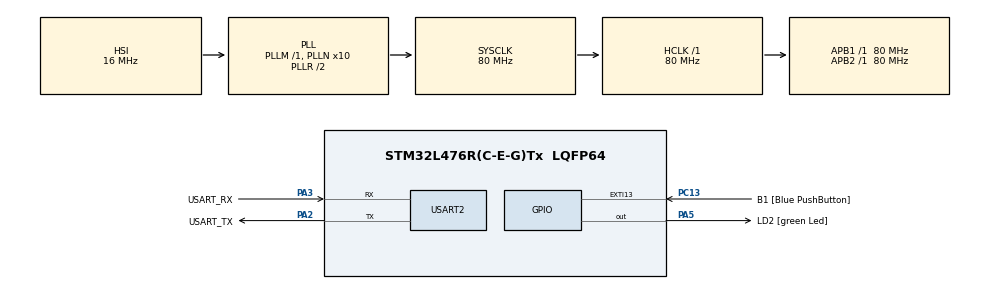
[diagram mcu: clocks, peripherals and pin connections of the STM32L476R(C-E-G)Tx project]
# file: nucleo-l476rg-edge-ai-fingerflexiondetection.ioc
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Dma.Request0=USART2_RX
Dma.USART2_RX.0.Direction=DMA_PERIPH_TO_MEMORY
Dma.USART2_RX.0.Instance=DMA1_Channel6
Dma.USART2_RX.0.MemDataAlignment=DMA_MDATAALIGN_BYTE
Dma.USART2_RX.0.MemInc=DMA_MINC_ENABLE
Dma.USART2_RX.0.Mode=DMA_NORMAL
Dma.USART2_RX.0.PeriphDataAlignment=DMA_PDATAALIGN_BYTE
Dma.USART2_RX.0.PeriphInc=DMA_PINC_DISABLE
Dma.USART2_RX.0.Priority=DMA_PRIORITY_LOW
Mcu.Family=STM32L4
Mcu.Name=STM32L476R(C-E-G)Tx
Mcu.Package=LQFP64
NVIC.DMA1_Channel6_IRQn=true\:0\:0\:false\:false\:true\:false\:true\:true
NVIC.PriorityGroup=NVIC_PRIORITYGROUP_4
NVIC.USART2_IRQn=true\:0\:0\:false\:false\:true\:true\:true\:true
PA13\ (JTMS-SWDIO).GPIO_Label=TMS
PA13\ (JTMS-SWDIO).Mode=Serial_Wire
PA13\ (JTMS-SWDIO).Signal=SYS_JTMS-SWDIO
PA14\ (JTCK-SWCLK).GPIO_Label=TCK
PA14\ (JTCK-SWCLK).Mode=Serial_Wire
PA14\ (JTCK-SWCLK).Signal=SYS_JTCK-SWCLK
PA2.GPIO_Label=USART_TX
PA2.GPIO_Mode=GPIO_MODE_AF_PP
PA2.GPIO_PuPd=GPIO_NOPULL
PA2.GPIO_Speed=GPIO_SPEED_FREQ_VERY_HIGH
PA2.Mode=Asynchronous
PA2.Signal=USART2_TX
PA3.GPIO_Label=USART_RX
PA3.GPIO_Mode=GPIO_MODE_AF_PP
PA3.GPIO_PuPd=GPIO_NOPULL
PA3.GPIO_Speed=GPIO_SPEED_FREQ_VERY_HIGH
PA3.Mode=Asynchronous
PA3.Signal=USART2_RX
PA5.GPIO_Label=LD2 [green Led]
PA5.GPIO_ModeDefaultOutputPP=GPIO_MODE_OUTPUT_PP
PA5.GPIO_PuPd=GPIO_NOPULL
PA5.GPIO_Speed=GPIO_SPEED_FREQ_LOW
PA5.Signal=GPIO_Output
PB3\ (JTDO-TRACESWO).GPIO_Label=SWO
PB3\ (JTDO-TRACESWO).Signal=SYS_JTDO-SWO
PC13.GPIO_Label=B1 [Blue PushButton]
PC13.GPIO_ModeDefaultEXTI=GPIO_MODE_IT_FALLING
PC13.GPIO_PuPd=GPIO_NOPULL
PC13.Signal=GPXTI13
PC14-OSC32_IN\ (PC14).Mode=LSE-External-Oscillator
PC14-OSC32_IN\ (PC14).Signal=RCC_OSC32_IN
PC15-OSC32_OUT\ (PC15).Mode=LSE-External-Oscillator
PC15-OSC32_OUT\ (PC15).Signal=RCC_OSC32_OUT
PH0-OSC_IN\ (PH0).Signal=RCC_OSC_IN
PH1-OSC_OUT\ (PH1).Signal=RCC_OSC_OUT
ProjectManager.HeapSize=0x800
ProjectManager.StackSize=0x800
ProjectManager.TargetToolchain=STM32CubeIDE
RCC.ADCFreq_Value=64000000
RCC.AHBFreq_Value=80000000
RCC.APB1Freq_Value=80000000
RCC.APB1TimFreq_Value=80000000
RCC.APB2Freq_Value=80000000
RCC.APB2TimFreq_Value=80000000
RCC.CortexFreq_Value=80000000
RCC.HCLKFreq_Value=80000000
RCC.HSE_VALUE=8000000
RCC.HSI_VALUE=16000000
RCC.MSI_VALUE=4000000
RCC.PLLN=10
RCC.PLLSourceVirtual=RCC_PLLSOURCE_HSI
RCC.PREFETCH_ENABLE=1
RCC.SYSCLKFreq_VALUE=80000000
RCC.SYSCLKSource=RCC_SYSCLKSOURCE_PLLCLK
RCC.USBFreq_Value=64000000
RCC.VCOOutputFreq_Value=160000000
STMicroelectronics.X-CUBE-AI.10.1.0.ActivationBufferSizeList=6652,6652,6652,6652,6652
STMicroelectronics.X-CUBE-AI.10.1.0.ActivationBuffers=pool0;pool0;pool0;pool0;pool0
STMicroelectronics.X-CUBE-AI.10.1.0.ActivationNames=pool0
STMicroelectronics.X-CUBE-AI.10.1.0.ActivationSizes=AI_MODEL_S2F1_DATA_ACTIVATION_1_SIZE
STMicroelectronics.X-CUBE-AI.10.1.0.HeapSize=0x800
STMicroelectronics.X-CUBE-AI.10.1.0.InternalRamActivationBufferMaxSize=AI_MODEL_S2F1_DATA_ACTIVATIONS_SIZE
STMicroelectronics.X-CUBE-AI.10.1.0.LatestDirectoryUsed-06843b650d80440f809eeb355fcc24ac81cf3337542a6df80166bb9550bdd930=C\:\\Users\\david\\Documents\\Edging\\Repo\\EdgeAI4BionicControl\\Dataset_and_Models\\models\\tflite
STMicroelectronics.X-CUBE-AI.10.1.0.LatestDirectoryUsed-64492a1f35101d6bec6d2c0363eff1dec01784bfa776d942e7336ac512b757dd=C\:\\Users\\david\\Documents\\Edging\\Repo\\EdgeAI4BionicControl\\Dataset_and_Models\\models\\tflite
STMicroelectronics.X-CUBE-AI.10.1.0.LatestDirectoryUsed-6df79e0265958d8dbdb43432f55e22fc44924b7ebf8d9e25c045c225322e96d8=C\:\\Users\\david\\Documents\\Edging\\Repo\\EdgeAI4BionicControl\\Dataset_and_Models\\models\\tflite
STMicroelectronics.X-CUBE-AI.10.1.0.LatestDirectoryUsed-78299c5ef01d2b61720f8f8bada1a9bf937ef636c7588987b4498ac1ed83829f=C\:\\Users\\david\\Documents\\Edging\\Repo\\EdgeAI4BionicControl\\Dataset_and_Models\\models\\tflite
STMicroelectronics.X-CUBE-AI.10.1.0.LatestDirectoryUsed-7eac4c03132fdc1705af695b6c1fb1eb2dd8f1c0785c84732d75b065108a31e7=C\:\\Users\\david\\Documents\\Edging\\Repo\\EdgeAI4BionicControl\\Dataset_and_Models\\models\\tflite
STMicroelectronics.X-CUBE-AI.10.1.0.LatestDirectoryUsed-d480b782bc64f994bd5af0ff8bee79f27f022d8f3d3e9912e97fe738614f49db=C\:\\Users\\david\\Documents\\Edging\\Repo\\EdgeAI4BionicControl\\Dataset_and_Models\\models\\tflite
STMicroelectronics.X-CUBE-AI.10.1.0.MaximumNumberOfInputLayer=1
STMicroelectronics.X-CUBE-AI.10.1.0.MaximumNumberOfOutputLayer=1
STMicroelectronics.X-CUBE-AI.10.1.0.MaximumSizeOfInputLayer=1
STMicroelectronics.X-CUBE-AI.10.1.0.MaximumSizeOfOutputLayer=1
STMicroelectronics.X-CUBE-AI.10.1.0.ModelActualCompression-06843b650d80440f809eeb355fcc24ac81cf3337542a6df80166bb9550bdd930=0.0
STMicroelectronics.X-CUBE-AI.10.1.0.ModelActualCompression-64492a1f35101d6bec6d2c0363eff1dec01784bfa776d942e7336ac512b757dd=0.0
STMicroelectronics.X-CUBE-AI.10.1.0.ModelActualCompression-6df79e0265958d8dbdb43432f55e22fc44924b7ebf8d9e25c045c225322e96d8=0.0
STMicroelectronics.X-CUBE-AI.10.1.0.ModelActualCompression-78299c5ef01d2b61720f8f8bada1a9bf937ef636c7588987b4498ac1ed83829f=0.0
STMicroelectronics.X-CUBE-AI.10.1.0.ModelActualCompression-7eac4c03132fdc1705af695b6c1fb1eb2dd8f1c0785c84732d75b065108a31e7=0.0
STMicroelectronics.X-CUBE-AI.10.1.0.ModelActualCompression-d480b782bc64f994bd5af0ff8bee79f27f022d8f3d3e9912e97fe738614f49db=0.0
STMicroelectronics.X-CUBE-AI.10.1.0.ModelCompression-06843b650d80440f809eeb355fcc24ac81cf3337542a6df80166bb9550bdd930=None
STMicroelectronics.X-CUBE-AI.10.1.0.ModelCompression-64492a1f35101d6bec6d2c0363eff1dec01784bfa776d942e7336ac512b757dd=None
STMicroelectronics.X-CUBE-AI.10.1.0.ModelCompression-6df79e0265958d8dbdb43432f55e22fc44924b7ebf8d9e25c045c225322e96d8=None
STMicroelectronics.X-CUBE-AI.10.1.0.ModelCompression-78299c5ef01d2b61720f8f8bada1a9bf937ef636c7588987b4498ac1ed83829f=None
STMicroelectronics.X-CUBE-AI.10.1.0.ModelCompression-7eac4c03132fdc1705af695b6c1fb1eb2dd8f1c0785c84732d75b065108a31e7=None
STMicroelectronics.X-CUBE-AI.10.1.0.ModelCompression-d480b782bc64f994bd5af0ff8bee79f27f022d8f3d3e9912e97fe738614f49db=None
STMicroelectronics.X-CUBE-AI.10.1.0.ModelFlashOccupation-06843b650d80440f809eeb355fcc24ac81cf3337542a6df80166bb9550bdd930=175867
STMicroelectronics.X-CUBE-AI.10.1.0.ModelFlashOccupation-64492a1f35101d6bec6d2c0363eff1dec01784bfa776d942e7336ac512b757dd=175867
STMicroelectronics.X-CUBE-AI.10.1.0.ModelFlashOccupation-6df79e0265958d8dbdb43432f55e22fc44924b7ebf8d9e25c045c225322e96d8=175867
STMicroelectronics.X-CUBE-AI.10.1.0.ModelFlashOccupation-78299c5ef01d2b61720f8f8bada1a9bf937ef636c7588987b4498ac1ed83829f=175867
STMicroelectronics.X-CUBE-AI.10.1.0.ModelFlashOccupation-7eac4c03132fdc1705af695b6c1fb1eb2dd8f1c0785c84732d75b065108a31e7=175867
STMicroelectronics.X-CUBE-AI.10.1.0.ModelFlashOccupation-d480b782bc64f994bd5af0ff8bee79f27f022d8f3d3e9912e97fe738614f49db=175867
STMicroelectronics.X-CUBE-AI.10.1.0.ModelHashList=7eac4c03132fdc1705af695b6c1fb1eb2dd8f1c0785c84732d75b065108a31e7;78299c5ef01d2b61720f8f8bada1a9bf937ef636c7588987b4498ac1ed83829f;6df79e0265958d8dbdb43432f55e22fc44924b7ebf8d9e25c045c225322e96d8;06843b650d80440f809eeb355fcc24ac81cf3337542a6df80166bb9550bdd930;64492a1f35101d6bec6d2c0363eff1dec01784bfa776d942e7336ac512b757dd
STMicroelectronics.X-CUBE-AI.10.1.0.ModelKind-06843b650d80440f809eeb355fcc24ac81cf3337542a6df80166bb9550bdd930=TFLITE
STMicroelectronics.X-CUBE-AI.10.1.0.ModelKind-64492a1f35101d6bec6d2c0363eff1dec01784bfa776d942e7336ac512b757dd=TFLITE
STMicroelectronics.X-CUBE-AI.10.1.0.ModelKind-6df79e0265958d8dbdb43432f55e22fc44924b7ebf8d9e25c045c225322e96d8=TFLITE
STMicroelectronics.X-CUBE-AI.10.1.0.ModelKind-78299c5ef01d2b61720f8f8bada1a9bf937ef636c7588987b4498ac1ed83829f=TFLITE
STMicroelectronics.X-CUBE-AI.10.1.0.ModelKind-7eac4c03132fdc1705af695b6c1fb1eb2dd8f1c0785c84732d75b065108a31e7=TFLITE
STMicroelectronics.X-CUBE-AI.10.1.0.ModelKind-d480b782bc64f994bd5af0ff8bee79f27f022d8f3d3e9912e97fe738614f49db=TFLITE
STMicroelectronics.X-CUBE-AI.10.1.0.ModelMacc-06843b650d80440f809eeb355fcc24ac81cf3337542a6df80166bb9550bdd930=158341
STMicroelectronics.X-CUBE-AI.10.1.0.ModelMacc-64492a1f35101d6bec6d2c0363eff1dec01784bfa776d942e7336ac512b757dd=158341
STMicroelectronics.X-CUBE-AI.10.1.0.ModelMacc-6df79e0265958d8dbdb43432f55e22fc44924b7ebf8d9e25c045c225322e96d8=158341
STMicroelectronics.X-CUBE-AI.10.1.0.ModelMacc-78299c5ef01d2b61720f8f8bada1a9bf937ef636c7588987b4498ac1ed83829f=158341
STMicroelectronics.X-CUBE-AI.10.1.0.ModelMacc-7eac4c03132fdc1705af695b6c1fb1eb2dd8f1c0785c84732d75b065108a31e7=158341
STMicroelectronics.X-CUBE-AI.10.1.0.ModelMacc-d480b782bc64f994bd5af0ff8bee79f27f022d8f3d3e9912e97fe738614f49db=158341
STMicroelectronics.X-CUBE-AI.10.1.0.ModelName-06843b650d80440f809eeb355fcc24ac81cf3337542a6df80166bb9550bdd930=model_s2f4
STMicroelectronics.X-CUBE-AI.10.1.0.ModelName-64492a1f35101d6bec6d2c0363eff1dec01784bfa776d942e7336ac512b757dd=model_s2f5
STMicroelectronics.X-CUBE-AI.10.1.0.ModelName-6df79e0265958d8dbdb43432f55e22fc44924b7ebf8d9e25c045c225322e96d8=model_s2f3
STMicroelectronics.X-CUBE-AI.10.1.0.ModelName-78299c5ef01d2b61720f8f8bada1a9bf937ef636c7588987b4498ac1ed83829f=model_s2f2
STMicroelectronics.X-CUBE-AI.10.1.0.ModelName-7eac4c03132fdc1705af695b6c1fb1eb2dd8f1c0785c84732d75b065108a31e7=model_s2f1
STMicroelectronics.X-CUBE-AI.10.1.0.ModelName-d480b782bc64f994bd5af0ff8bee79f27f022d8f3d3e9912e97fe738614f49db=model_s2f5
STMicroelectronics.X-CUBE-AI.10.1.0.ModelNameList=model_s2f1,model_s2f2,model_s2f3,model_s2f4,model_s2f5
STMicroelectronics.X-CUBE-AI.10.1.0.ModelRamOccupation-06843b650d80440f809eeb355fcc24ac81cf3337542a6df80166bb9550bdd930=6652
STMicroelectronics.X-CUBE-AI.10.1.0.ModelRamOccupation-64492a1f35101d6bec6d2c0363eff1dec01784bfa776d942e7336ac512b757dd=6652
STMicroelectronics.X-CUBE-AI.10.1.0.ModelRamOccupation-6df79e0265958d8dbdb43432f55e22fc44924b7ebf8d9e25c045c225322e96d8=6652
STMicroelectronics.X-CUBE-AI.10.1.0.ModelRamOccupation-78299c5ef01d2b61720f8f8bada1a9bf937ef636c7588987b4498ac1ed83829f=6652
STMicroelectronics.X-CUBE-AI.10.1.0.ModelRamOccupation-7eac4c03132fdc1705af695b6c1fb1eb2dd8f1c0785c84732d75b065108a31e7=6652
STMicroelectronics.X-CUBE-AI.10.1.0.ModelRamOccupation-d480b782bc64f994bd5af0ff8bee79f27f022d8f3d3e9912e97fe738614f49db=6652
STMicroelectronics.X-CUBE-AI.10.1.0.ModelStructureFile-06843b650d80440f809eeb355fcc24ac81cf3337542a6df80166bb9550bdd930=C\:\\Users\\david\\Documents\\Edging\\Repo\\EdgeAI4BionicControl\\Dataset_and_Models\\models\\tflite\\model_s2f4_int8.tflite
STMicroelectronics.X-CUBE-AI.10.1.0.ModelStructureFile-64492a1f35101d6bec6d2c0363eff1dec01784bfa776d942e7336ac512b757dd=C\:\\Users\\david\\Documents\\Edging\\Repo\\EdgeAI4BionicControl\\Dataset_and_Models\\models\\tflite\\model_s2f5_int8.tflite
STMicroelectronics.X-CUBE-AI.10.1.0.ModelStructureFile-6df79e0265958d8dbdb43432f55e22fc44924b7ebf8d9e25c045c225322e96d8=C\:\\Users\\david\\Documents\\Edging\\Repo\\EdgeAI4BionicControl\\Dataset_and_Models\\models\\tflite\\model_s2f3_int8.tflite
STMicroelectronics.X-CUBE-AI.10.1.0.ModelStructureFile-78299c5ef01d2b61720f8f8bada1a9bf937ef636c7588987b4498ac1ed83829f=C\:\\Users\\david\\Documents\\Edging\\Repo\\EdgeAI4BionicControl\\Dataset_and_Models\\models\\tflite\\model_s2f2_int8.tflite
STMicroelectronics.X-CUBE-AI.10.1.0.ModelStructureFile-7eac4c03132fdc1705af695b6c1fb1eb2dd8f1c0785c84732d75b065108a31e7=C\:\\Users\\david\\Documents\\Edging\\Repo\\EdgeAI4BionicControl\\Dataset_and_Models\\models\\tflite\\model_s2f1_int8.tflite
STMicroelectronics.X-CUBE-AI.10.1.0.ModelStructureFile-d480b782bc64f994bd5af0ff8bee79f27f022d8f3d3e9912e97fe738614f49db=C\:\\Users\\david\\Documents\\Edging\\Repo\\EdgeAI4BionicControl\\Dataset_and_Models\\models\\tflite\\model_s2f5_int8.tflite
STMicroelectronics.X-CUBE-AI.10.1.0.ModelType-06843b650d80440f809eeb355fcc24ac81cf3337542a6df80166bb9550bdd930=STM32Cube.AI MCU runtime
STMicroelectronics.X-CUBE-AI.10.1.0.ModelType-64492a1f35101d6bec6d2c0363eff1dec01784bfa776d942e7336ac512b757dd=STM32Cube.AI MCU runtime
STMicroelectronics.X-CUBE-AI.10.1.0.ModelType-6df79e0265958d8dbdb43432f55e22fc44924b7ebf8d9e25c045c225322e96d8=STM32Cube.AI MCU runtime
STMicroelectronics.X-CUBE-AI.10.1.0.ModelType-78299c5ef01d2b61720f8f8bada1a9bf937ef636c7588987b4498ac1ed83829f=STM32Cube.AI MCU runtime
STMicroelectronics.X-CUBE-AI.10.1.0.ModelType-7eac4c03132fdc1705af695b6c1fb1eb2dd8f1c0785c84732d75b065108a31e7=STM32Cube.AI MCU runtime
STMicroelectronics.X-CUBE-AI.10.1.0.ModelType-d480b782bc64f994bd5af0ff8bee79f27f022d8f3d3e9912e97fe738614f49db=STM32Cube.AI MCU runtime
STMicroelectronics.X-CUBE-AI.10.1.0.ReadyForCodeGeneration=true
STMicroelectronics.X-CUBE-AI.10.1.0.StackSize=0x800
STMicroelectronics.X-CUBE-AI.10.1.0.WorkingBufferStartAddrList=0xFFFFFFFF,0xFFFFFFFF,0xFFFFFFFF,0xFFFFFFFF,0xFFFFFFFF
STMicroelectronics.X-CUBE-AI.10.1.0.XAaCUBEAaAICcArtificialOoIntelligenceJjCore=true
STMicroelectronics.X-CUBE-AI.10.1.0.copyWeightToRam=false
STMicroelectronics.X-CUBE-AI.10.1.0.copyWeightToRam-d480b782bc64f994bd5af0ff8bee79f27f022d8f3d3e9912e97fe738614f49db=false
STMicroelectronics.X-CUBE-AI.10.1.0.customLayerConfigEnabled=false
STMicroelectronics.X-CUBE-AI.10.1.0.customLayerConfigEnabled-d480b782bc64f994bd5af0ff8bee79f27f022d8f3d3e9912e97fe738614f49db=false
STMicroelectronics.X-CUBE-AI.10.1.0.noOnnxIoTranspose=false
STMicroelectronics.X-CUBE-AI.10.1.0.noOnnxIoTranspose-d480b782bc64f994bd5af0ff8bee79f27f022d8f3d3e9912e97fe738614f49db=false
STMicroelectronics.X-CUBE-AI.10.1.0.useInputAllocation=true
STMicroelectronics.X-CUBE-AI.10.1.0.useInputAllocation-d480b782bc64f994bd5af0ff8bee79f27f022d8f3d3e9912e97fe738614f49db=true
STMicroelectronics.X-CUBE-AI.10.1.0.useOutputAllocation=true
STMicroelectronics.X-CUBE-AI.10.1.0.useOutputAllocation-d480b782bc64f994bd5af0ff8bee79f27f022d8f3d3e9912e97fe738614f49db=true
TIM16.Prescaler=80-1
USART2.VirtualMode-Asynchronous=VM_ASYNC
VP_CRC_VS_CRC.Mode=CRC_Activate
VP_STMicroelectronics.X-CUBE-AI_VS_ArtificialOoIntelligenceJjXAaCUBEAaAI_10.1.0.Mode=ArtificialOoIntelligenceJjXAaCUBEAaAI
VP_TIM16_VS_ClockSourceINT.Mode=Enable_Timer
board=NUCLEO-L476RG

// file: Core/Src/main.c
/* USER CODE BEGIN Header */
/**
  ******************************************************************************
  * @file           : main.c
  * @brief          : Main program body
  ******************************************************************************
  * @attention
  *
  * Copyright (c) 2025 STMicroelectronics.
  * All rights reserved.
  *
  * This software is licensed under terms that can be found in the LICENSE file
  * in the root directory of this software component.
  * If no LICENSE file comes with this software, it is provided AS-IS.
  *
  ******************************************************************************
  */
/* USER CODE END Header */
#include "main.h"

/* USER CODE BEGIN Includes */

#include <stdio.h>
#include <stdint.h>  // Para evitar advertencias de int8 o uint8
#include <string.h> // Para usar memcpy

#include "ai_datatypes_defines.h"
#include "ai_platform.h"
#include "model_s2f1.h"
#include "model_s2f1_data.h"
#include "model_s2f2.h"
#include "model_s2f2_data.h"
#include "model_s2f3.h"
#include "model_s2f3_data.h"
#include "model_s2f4.h"
#include "model_s2f4_data.h"
#include "model_s2f5.h"
#include "model_s2f5_data.h"

/* USER CODE END Includes */

/* USER CODE BEGIN PD */

#define VERBOSE 0   // Con VERBOSE 0 solo quedan mensajes de error y se entregan (IN, OUT)
//#define NUM_INPUTS 1153 // Cantidad de columnas en la matriz R. Por sujeto las opciones son: 1489/1153/1537
#define INPUT_BITS ( 4 * AI_MODEL_S2F1_IN_1_SIZE ) // Son float32 los datos de entrada
#define NUM_FINGERS 3 // Idealmente la idea es llegar a 5

/* USER CODE END PD */

CRC_HandleTypeDef hcrc;

TIM_HandleTypeDef htim16;

UART_HandleTypeDef huart2;
DMA_HandleTypeDef hdma_usart2_rx;

/* USER CODE BEGIN PV */

//uint8_t TxData[(4 * NUM_FINGERS)];
AI_ALIGNED(4) uint8_t RxData[(INPUT_BITS+4)]; // Alineado usando la macro de "ai_platform.h"
//int isSizeRxed = 0;

uint8_t RxSize[4];
uint32_t size = 0;

/* USER CODE END PV */

void SystemClock_Config(void);
static void MX_GPIO_Init(void);
static void MX_DMA_Init(void);
static void MX_USART2_UART_Init(void);
static void MX_TIM16_Init(void);
static void MX_CRC_Init(void);

/* USER CODE BEGIN 0 */

/*
void HAL_UART_RxCpltCallback(UART_HandleTypeDef *huart){

	if (isSizeRxed == 0){ // Si no he recibido el tamaño de los datos que recibiré
		// Los primeros 4 bytes que reciba serán el tamaño
		size = ((RxData[0]-48)*1000)+((RxData[1]-48)*100)+((RxData[2]-48)*10)+((RxData[3]-48));
		// Le resto 48 para pasar de ascii al número.
		isSizeRxed = 1;
		HAL_UART_Receive_DMA(&huart2, RxData,size);

	}
	else if (isSizeRxed == 1){
		isSizeRxed = 0;

		for (int i = 0; i < AI_MODEL_S2F1_IN_1_SIZE; ++i) {
		    memcpy(&in_data_s2f1[i], &RxData[i * 4], sizeof(float));
		}

		HAL_UART_Receive_DMA(&huart2, RxData,4);

	}

}
*/

/* USER CODE END 0 */

int main(void)
{

  /* USER CODE BEGIN 1 */

	char buf[128];
	int buf_len = 0;
	ai_error ai_err1;
	ai_error ai_err2;
	ai_error ai_err3;
	ai_error ai_err4;
	ai_error ai_err5;
	ai_i32 nbatch1;
	ai_i32 nbatch2;
	ai_i32 nbatch3;
	ai_i32 nbatch4;
	ai_i32 nbatch5;
	// uint32_t timestamp;
	float y_val_s2f1;
	float y_val_s2f2;
	float y_val_s2f3;
	float y_val_s2f4;
	float y_val_s2f5;

	// Espacio de memoria para guardar calculos intermedios (usando variables definidas por Cube.IA, no por mi)
	AI_ALIGNED(4) ai_u8 activations_s2f1[AI_MODEL_S2F1_DATA_ACTIVATIONS_SIZE];
	AI_ALIGNED(4) ai_u8 activations_s2f2[AI_MODEL_S2F2_DATA_ACTIVATIONS_SIZE];
	AI_ALIGNED(4) ai_u8 activations_s2f3[AI_MODEL_S2F3_DATA_ACTIVATIONS_SIZE];
	AI_ALIGNED(4) ai_u8 activations_s2f4[AI_MODEL_S2F4_DATA_ACTIVATIONS_SIZE];
	AI_ALIGNED(4) ai_u8 activations_s2f5[AI_MODEL_S2F5_DATA_ACTIVATIONS_SIZE];

	// Buffers para los tensores de entradas y salidas
	AI_ALIGNED(4) ai_float in_data_nn[AI_MODEL_S2F1_IN_1_SIZE]; // Esto espera 1153 flotantes de 32 bits
	AI_ALIGNED(4) ai_float out_data_s2f1[AI_MODEL_S2F1_IN_1_SIZE];
	AI_ALIGNED(4) ai_float out_data_s2f2[AI_MODEL_S2F2_IN_1_SIZE];
	AI_ALIGNED(4) ai_float out_data_s2f3[AI_MODEL_S2F3_IN_1_SIZE];
	AI_ALIGNED(4) ai_float out_data_s2f4[AI_MODEL_S2F4_IN_1_SIZE];
	AI_ALIGNED(4) ai_float out_data_s2f5[AI_MODEL_S2F5_IN_1_SIZE];

	ai_handle model_s2f1 = AI_HANDLE_NULL;
	ai_handle model_s2f2 = AI_HANDLE_NULL;
	ai_handle model_s2f3 = AI_HANDLE_NULL;
	ai_handle model_s2f4 = AI_HANDLE_NULL;
	ai_handle model_s2f5 = AI_HANDLE_NULL;

	// Para guardar punteros hacia los datos
	ai_buffer ai_input_s2f1[AI_MODEL_S2F1_IN_NUM];
	ai_buffer ai_output_s2f1[AI_MODEL_S2F1_OUT_NUM];

	ai_buffer ai_input_s2f2[AI_MODEL_S2F2_IN_NUM];
	ai_buffer ai_output_s2f2[AI_MODEL_S2F2_OUT_NUM];

	ai_buffer ai_input_s2f3[AI_MODEL_S2F3_IN_NUM];
	ai_buffer ai_output_s2f3[AI_MODEL_S2F3_OUT_NUM];

	ai_buffer ai_input_s2f4[AI_MODEL_S2F4_IN_NUM];
	ai_buffer ai_output_s2f4[AI_MODEL_S2F4_OUT_NUM];

	ai_buffer ai_input_s2f5[AI_MODEL_S2F5_IN_NUM];
	ai_buffer ai_output_s2f5[AI_MODEL_S2F5_OUT_NUM];

	// {N,H,W,C} : Num_Muestras, Altura, Ancho, Canales
	ai_shape_dimension input_shape_data[4] =  {1, AI_MODEL_S2F1_IN_1_SIZE, 1, 1};  	// 1 muestra de algo de 1153x1, de 1 canal
	ai_shape_dimension output_shape_data[4] = {1, 1, 1, 1};  		// 1 escalar (1 muestra de 1x1 de 1 canal)

	// Set working memory and get weights/bias from model
	ai_network_params ai_params_s2f1 = {
		.params = AI_MODEL_S2F1_DATA_WEIGHTS(ai_model_s2f1_data_weights_get()),  // En realidad esta forma de hacerlo está obsoleta
		.activations = AI_MODEL_S2F1_DATA_ACTIVATIONS(activations_s2f1),		 // deprecated
	};																			 // Luego revisaré cómo se hace actualmente
	ai_network_params ai_params_s2f2 = {
			.params = AI_MODEL_S2F2_DATA_WEIGHTS(ai_model_s2f2_data_weights_get()),  // En realidad esta forma de hacerlo está obsoleta
			.activations = AI_MODEL_S2F2_DATA_ACTIVATIONS(activations_s2f2),		 // deprecated
		};																			 // Luego revisaré cómo se hace actualmente
	ai_network_params ai_params_s2f3 = {
				.params = AI_MODEL_S2F3_DATA_WEIGHTS(ai_model_s2f3_data_weights_get()),  // En realidad esta forma de hacerlo está obsoleta
				.activations = AI_MODEL_S2F3_DATA_ACTIVATIONS(activations_s2f3),		 // deprecated
			};																			 // Luego revisaré cómo se hace actualmente

	ai_network_params ai_params_s2f4 = {
					.params = AI_MODEL_S2F4_DATA_WEIGHTS(ai_model_s2f4_data_weights_get()),  // En realidad esta forma de hacerlo está obsoleta
					.activations = AI_MODEL_S2F4_DATA_ACTIVATIONS(activations_s2f4),		 // deprecated
				};

	ai_network_params ai_params_s2f5 = {
					.params = AI_MODEL_S2F5_DATA_WEIGHTS(ai_model_s2f5_data_weights_get()),  // En realidad esta forma de hacerlo está obsoleta
					.activations = AI_MODEL_S2F5_DATA_ACTIVATIONS(activations_s2f5),		 // deprecated
				};

	// Pointer wrapper structs to data buffers
	// S2F1
	ai_input_s2f1[0].data = AI_HANDLE_PTR(in_data_nn);
	ai_input_s2f1[0].shape.size = 4;
	ai_input_s2f1[0].shape.data = input_shape_data;
	ai_input_s2f1[0].format = AI_BUFFER_FORMAT_FLOAT;

	ai_output_s2f1[0].data = AI_HANDLE_PTR(out_data_s2f1);
	ai_output_s2f1[0].shape.size = 4;
	ai_output_s2f1[0].shape.data = output_shape_data;
	ai_output_s2f1[0].format = AI_BUFFER_FORMAT_FLOAT;

	// S2F2
	ai_input_s2f2[0].data = AI_HANDLE_PTR(in_data_nn);
	ai_input_s2f2[0].shape.size = 4;
	ai_input_s2f2[0].shape.data = input_shape_data;
	ai_input_s2f2[0].format = AI_BUFFER_FORMAT_FLOAT;

	ai_output_s2f2[0].data = AI_HANDLE_PTR(out_data_s2f2);
	ai_output_s2f2[0].shape.size = 4;
	ai_output_s2f2[0].shape.data = output_shape_data;
	ai_output_s2f2[0].format = AI_BUFFER_FORMAT_FLOAT;

	// S2F3
	ai_input_s2f3[0].data = AI_HANDLE_PTR(in_data_nn);
	ai_input_s2f3[0].shape.size = 4;
	ai_input_s2f3[0].shape.data = input_shape_data;
	ai_input_s2f3[0].format = AI_BUFFER_FORMAT_FLOAT;

	ai_output_s2f3[0].data = AI_HANDLE_PTR(out_data_s2f3);
	ai_output_s2f3[0].shape.size = 4;
	ai_output_s2f3[0].shape.data = output_shape_data;
	ai_output_s2f3[0].format = AI_BUFFER_FORMAT_FLOAT;

	// S2F4
	ai_input_s2f4[0].data = AI_HANDLE_PTR(in_data_nn);
	ai_input_s2f4[0].shape.size = 4;
	ai_input_s2f4[0].shape.data = input_shape_data;
	ai_input_s2f4[0].format = AI_BUFFER_FORMAT_FLOAT;

	ai_output_s2f4[0].data = AI_HANDLE_PTR(out_data_s2f4);
	ai_output_s2f4[0].shape.size = 4;
	ai_output_s2f4[0].shape.data = output_shape_data;
	ai_output_s2f4[0].format = AI_BUFFER_FORMAT_FLOAT;

	// S2F5
	ai_input_s2f5[0].data = AI_HANDLE_PTR(in_data_nn);
	ai_input_s2f5[0].shape.size = 4;
	ai_input_s2f5[0].shape.data = input_shape_data;
	ai_input_s2f5[0].format = AI_BUFFER_FORMAT_FLOAT;

	ai_output_s2f5[0].data = AI_HANDLE_PTR(out_data_s2f5);
	ai_output_s2f5[0].shape.size = 4;
	ai_output_s2f5[0].shape.data = output_shape_data;
	ai_output_s2f5[0].format = AI_BUFFER_FORMAT_FLOAT;

  /* USER CODE END 1 */

  /* MCU Configuration--------------------------------------------------------*/

  /* Reset of all peripherals, Initializes the Flash interface and the Systick. */
  HAL_Init();

  /* Configure the system clock */
  SystemClock_Config();

  /* Initialize all configured peripherals */
  MX_GPIO_Init();
  MX_DMA_Init();
  MX_USART2_UART_Init();
  MX_TIM16_Init();
  MX_CRC_Init();
  /* USER CODE BEGIN 2 */

  // Start timer/counter
  HAL_TIM_Base_Start(&htim16);
  //if (VERBOSE){
	  // Saludo
	  buf_len = sprintf(buf, "\r\n\r\nSTM32 X-Cube-AI 2 Finger Test\r\n");
	  HAL_UART_Transmit(&huart2, (uint8_t * )buf, buf_len, 100);
//  }

  // Crear las redes

  // S2f1
  ai_err1 = ai_model_s2f1_create(&model_s2f1, AI_MODEL_S2F1_DATA_CONFIG);
  if (ai_err1.type != AI_ERROR_NONE)
  {
	  buf_len = sprintf(buf, "Error: could not create s2f1 NN instance\r\n");
	  HAL_UART_Transmit(&huart2, (uint8_t *)buf, buf_len, 100);
	  while(1);
  }

  // S2f2
  ai_err2 = ai_model_s2f2_create(&model_s2f2, AI_MODEL_S2F2_DATA_CONFIG);
  if (ai_err2.type != AI_ERROR_NONE)
  {
	  buf_len = sprintf(buf, "Error: could not create s2f2 NN instance\r\n");
	  HAL_UART_Transmit(&huart2, (uint8_t *)buf, buf_len, 100);
	  while(1);
  }

  // S2F3
  ai_err3 = ai_model_s2f3_create(&model_s2f3, AI_MODEL_S2F3_DATA_CONFIG);
  if (ai_err3.type != AI_ERROR_NONE)
  {
	  buf_len = sprintf(buf, "Error: could not create s2f3 NN instance\r\n");
	  HAL_UART_Transmit(&huart2, (uint8_t *)buf, buf_len, 100);
	  while(1);
  }

  // S2F4
  ai_err4 = ai_model_s2f4_create(&model_s2f4, AI_MODEL_S2F4_DATA_CONFIG);
  if (ai_err4.type != AI_ERROR_NONE)
  {
	  buf_len = sprintf(buf, "Error: could not create s2f4 NN instance\r\n");
	  HAL_UART_Transmit(&huart2, (uint8_t *)buf, buf_len, 100);
	  while(1);
  }

  // S2F5
  ai_err5 = ai_model_s2f5_create(&model_s2f5, AI_MODEL_S2F5_DATA_CONFIG);
  if (ai_err5.type != AI_ERROR_NONE)
  {
	  buf_len = sprintf(buf, "Error: could not create s2f5 NN instance\r\n");
	  HAL_UART_Transmit(&huart2, (uint8_t *)buf, buf_len, 100);
	  while(1);
  }

  if (VERBOSE){
	  ai_network_report report;
	  // Revisando las dimensiones reales de entrada y salida (Es lo mismo para las 5 redes)
	  if (ai_model_s2f1_get_info(model_s2f1, &report)){
		  printf("Input shape (dims=%d): ", report.inputs->shape.size);
			  for (int i = 0; i < report.inputs->shape.size; ++i)
				  printf("%lu ", (unsigned long)report.inputs->shape.data[i]);
			  printf("\r\n");
		  printf("Output shape (dims=%d): ", report.outputs->shape.size);
			  for (int i = 0; i < report.outputs->shape.size; ++i)
				  printf("%lu ", (unsigned long)report.outputs->shape.data[i]);
			  printf("\r\n");
	  }
  }

  // Inicializar las NN

  // S2F1
  if (!ai_model_s2f1_init(model_s2f1, &ai_params_s2f1))
  {
	  buf_len = sprintf(buf, "Error, could not initialize s2f1 NN\r\n");
	  HAL_UART_Transmit(&huart2, (uint8_t *)buf, buf_len, 100);
	  while(1);
  }

  // S2F2
  if (!ai_model_s2f2_init(model_s2f2, &ai_params_s2f2))
  {
	  buf_len = sprintf(buf, "Error, could not initialize s2f2 NN\r\n");
	  HAL_UART_Transmit(&huart2, (uint8_t *)buf, buf_len, 100);
	  while(1);
  }

  // S2F3
  if (!ai_model_s2f3_init(model_s2f3, &ai_params_s2f3))
  {
	  buf_len = sprintf(buf, "Error, could not initialize s2f3 NN\r\n");
	  HAL_UART_Transmit(&huart2, (uint8_t *)buf, buf_len, 100);
	  while(1);
  }

  // S2F4
  if (!ai_model_s2f4_init(model_s2f4, &ai_params_s2f4))
  {
	  buf_len = sprintf(buf, "Error, could not initialize s2f4 NN\r\n");
	  HAL_UART_Transmit(&huart2, (uint8_t *)buf, buf_len, 100);
	  while(1);
  }

  // S2F5
  if (!ai_model_s2f5_init(model_s2f5, &ai_params_s2f5))
  {
	  buf_len = sprintf(buf, "Error, could not initialize s2f5 NN\r\n");
	  HAL_UART_Transmit(&huart2, (uint8_t *)buf, buf_len, 100);
	  while(1);
  }

  //HAL_UART_Receive_DMA(&huart2, RxData,4); // La primera vez espero 4 bytes con el número de 4 dígitos que será el tamaño a recibir

  // Voy a leer 1 sola vez el tamaño y luego esperar que se mande esa cantidad de números varias veces.
  // Si se quiere cambiar el tamaño, habrá que reiniciar
  if (VERBOSE){
  	 	  // Esperando
  	 	  buf_len = sprintf(buf, "Introduzca 4 dígitos con la cantidad de bytes a enviar\r\n");
  	 	  HAL_UART_Transmit(&huart2, (uint8_t * )buf, buf_len, 100);
  	   }

  	  HAL_UART_Receive(&huart2,RxSize,4,HAL_MAX_DELAY);
  	  // Los primeros 4 bytes que reciba serán el tamaño
  	  size = ((RxSize[0]-48)*1000)+((RxSize[1]-48)*100)+((RxSize[2]-48)*10)+((RxSize[3]-48));
  	  // Le resto 48 para pasar de ascii al número.

  /* USER CODE END 2 */

  /* Infinite loop */
  /* USER CODE BEGIN WHILE */
  while (1)
  {

	  // timestamp inicio
	  //timestamp = htim16.Instance->CNT;

	  if (VERBOSE){
		  buf_len = sprintf(buf, "Esperando a recibir un grupo de %ld bytes\r\n", size);
		  HAL_UART_Transmit(&huart2, (uint8_t *)buf, buf_len, 100);
	  }

	  HAL_UART_Receive(&huart2, RxData,size,HAL_MAX_DELAY);

	  memcpy(in_data_nn, RxData, sizeof(float) * AI_MODEL_S2F1_IN_1_SIZE);

	  if (VERBOSE){
		  for (int i = 0; i < AI_MODEL_S2F1_IN_1_SIZE; ++i) {
		    buf_len = sprintf(buf, "in_data_nn[%d] = %.5f \r\n",i,in_data_nn[i]);
			HAL_UART_Transmit(&huart2, (uint8_t *)buf, buf_len, 100);
		}
	  }
	  if (VERBOSE){
		  buf_len = sprintf(buf, "Ya se convirtieron a flotantes\r\n");
		  HAL_UART_Transmit(&huart2, (uint8_t *)buf, buf_len, 100);
	  }

	  // Realizar inferencia

	  // S2F1
	  nbatch1 = ai_model_s2f1_run(model_s2f1, &ai_input_s2f1[0], &ai_output_s2f1[0]);
	  if (nbatch1 != 1)
	    {
	  	  buf_len = sprintf(buf, "Error, could not run inference in s2f1 NN\r\n");
	  	  HAL_UART_Transmit(&huart2, (uint8_t *)buf, buf_len, 100);
	  	  while(1);
	    }

	  // S2F2
	  nbatch2 = ai_model_s2f2_run(model_s2f2, &ai_input_s2f2[0], &ai_output_s2f2[0]);
	  	  if (nbatch2 != 1)
	  	    {
	  	  	  buf_len = sprintf(buf, "Error, could not run inference in s2f2 NN\r\n");
	  	  	  HAL_UART_Transmit(&huart2, (uint8_t *)buf, buf_len, 100);
	  	  	  while(1);
	  	    }

	  // S2F3
	  nbatch3 = ai_model_s2f3_run(model_s2f3, &ai_input_s2f3[0], &ai_output_s2f3[0]);
		  if (nbatch3 != 1)
			{
			  buf_len = sprintf(buf, "Error, could not run inference in s2f3 NN\r\n");
			  HAL_UART_Transmit(&huart2, (uint8_t *)buf, buf_len, 100);
			  while(1);
			}

	  // S2F4
	  nbatch4 = ai_model_s2f4_run(model_s2f4, &ai_input_s2f4[0], &ai_output_s2f4[0]);
		  if (nbatch4 != 1)
			{
			  buf_len = sprintf(buf, "Error, could not run inference in s2f4 NN\r\n");
			  HAL_UART_Transmit(&huart2, (uint8_t *)buf, buf_len, 100);
			  while(1);
			}

	  // S2F5
	  nbatch5 = ai_model_s2f5_run(model_s2f5, &ai_input_s2f5[0], &ai_output_s2f5[0]);
		  if (nbatch5 != 1)
			{
			  buf_len = sprintf(buf, "Error, could not run inference in s2f5 NN\r\n");
			  HAL_UART_Transmit(&huart2, (uint8_t *)buf, buf_len, 100);
			  while(1);
			}

	  //long unsigned int tim = htim16.Instance->CNT - timestamp;
	 // Lee la prediccion
	  y_val_s2f1 = out_data_s2f1[0];
	  y_val_s2f2 = out_data_s2f2[0];
	  y_val_s2f3 = out_data_s2f3[0];
	  y_val_s2f4 = out_data_s2f4[0];
	  y_val_s2f5 = out_data_s2f5[0];

	  if (VERBOSE){
		  buf_len = sprintf(buf, "y_s2f1 = %.3f ; y_s2f2 = %.3f ; y_s2f3 = %.3f ; y_s2f4 = %.3f ; y_s2f5 = %.3f \r\n", y_val_s2f1,y_val_s2f2, y_val_s2f3, y_val_s2f4, y_val_s2f5);
	  } else {
		  buf_len = sprintf(buf,"%.8f %.8f %.8f %.8f %.8f\r\n",y_val_s2f1, y_val_s2f2, y_val_s2f3, y_val_s2f4, y_val_s2f5);

	 }
	 HAL_UART_Transmit(&huart2, (uint8_t *)buf, buf_len, 100);

    /* USER CODE END WHILE */

    /* USER CODE BEGIN 3 */
	//  		  HAL_UART_Transmit(&huart2, TxData,10240, HAL_MAX_DELAY);

	 //HAL_Delay(500);

  }
  /* USER CODE END 3 */
}

void SystemClock_Config(void)
{
  RCC_OscInitTypeDef RCC_OscInitStruct = {0};
  RCC_ClkInitTypeDef RCC_ClkInitStruct = {0};

  /** Configure the main internal regulator output voltage
  */
  if (HAL_PWREx_ControlVoltageScaling(PWR_REGULATOR_VOLTAGE_SCALE1) != HAL_OK)
  {
    Error_Handler();
  }

  /** Initializes the RCC Oscillators according to the specified parameters
  * in the RCC_OscInitTypeDef structure.
  */
  RCC_OscInitStruct.OscillatorType = RCC_OSCILLATORTYPE_HSI;
  RCC_OscInitStruct.HSIState = RCC_HSI_ON;
  RCC_OscInitStruct.HSICalibrationValue = RCC_HSICALIBRATION_DEFAULT;
  RCC_OscInitStruct.PLL.PLLState = RCC_PLL_ON;
  RCC_OscInitStruct.PLL.PLLSource = RCC_PLLSOURCE_HSI;
  RCC_OscInitStruct.PLL.PLLM = 1;
  RCC_OscInitStruct.PLL.PLLN = 10;
  RCC_OscInitStruct.PLL.PLLP = RCC_PLLP_DIV7;
  RCC_OscInitStruct.PLL.PLLQ = RCC_PLLQ_DIV2;
  RCC_OscInitStruct.PLL.PLLR = RCC_PLLR_DIV2;
  if (HAL_RCC_OscConfig(&RCC_OscInitStruct) != HAL_OK)
  {
    Error_Handler();
  }

  /** Initializes the CPU, AHB and APB buses clocks
  */
  RCC_ClkInitStruct.ClockType = RCC_CLOCKTYPE_HCLK|RCC_CLOCKTYPE_SYSCLK
                              |RCC_CLOCKTYPE_PCLK1|RCC_CLOCKTYPE_PCLK2;
  RCC_ClkInitStruct.SYSCLKSource = RCC_SYSCLKSOURCE_PLLCLK;
  RCC_ClkInitStruct.AHBCLKDivider = RCC_SYSCLK_DIV1;
  RCC_ClkInitStruct.APB1CLKDivider = RCC_HCLK_DIV1;
  RCC_ClkInitStruct.APB2CLKDivider = RCC_HCLK_DIV1;

  if (HAL_RCC_ClockConfig(&RCC_ClkInitStruct, FLASH_LATENCY_4) != HAL_OK)
  {
    Error_Handler();
  }
}

static void MX_CRC_Init(void)
{

  hcrc.Instance = CRC;
  hcrc.Init.DefaultPolynomialUse = DEFAULT_POLYNOMIAL_ENABLE;
  hcrc.Init.DefaultInitValueUse = DEFAULT_INIT_VALUE_ENABLE;
  hcrc.Init.InputDataInversionMode = CRC_INPUTDATA_INVERSION_NONE;
  hcrc.Init.OutputDataInversionMode = CRC_OUTPUTDATA_INVERSION_DISABLE;
  hcrc.InputDataFormat = CRC_INPUTDATA_FORMAT_BYTES;
  if (HAL_CRC_Init(&hcrc) != HAL_OK)
  {
    Error_Handler();
  }

}

static void MX_TIM16_Init(void)
{

  htim16.Instance = TIM16;
  htim16.Init.Prescaler = 80-1;
  htim16.Init.CounterMode = TIM_COUNTERMODE_UP;
  htim16.Init.Period = 65535;
  htim16.Init.ClockDivision = TIM_CLOCKDIVISION_DIV1;
  htim16.Init.RepetitionCounter = 0;
  htim16.Init.AutoReloadPreload = TIM_AUTORELOAD_PRELOAD_DISABLE;
  if (HAL_TIM_Base_Init(&htim16) != HAL_OK)
  {
    Error_Handler();
  }

}

static void MX_USART2_UART_Init(void)
{

  huart2.Instance = USART2;
  huart2.Init.BaudRate = 115200;
  huart2.Init.WordLength = UART_WORDLENGTH_8B;
  huart2.Init.StopBits = UART_STOPBITS_1;
  huart2.Init.Parity = UART_PARITY_NONE;
  huart2.Init.Mode = UART_MODE_TX_RX;
  huart2.Init.HwFlowCtl = UART_HWCONTROL_NONE;
  huart2.Init.OverSampling = UART_OVERSAMPLING_16;
  huart2.Init.OneBitSampling = UART_ONE_BIT_SAMPLE_DISABLE;
  huart2.AdvancedInit.AdvFeatureInit = UART_ADVFEATURE_NO_INIT;
  if (HAL_UART_Init(&huart2) != HAL_OK)
  {
    Error_Handler();
  }

}

static void MX_DMA_Init(void)
{

  /* DMA controller clock enable */
  __HAL_RCC_DMA1_CLK_ENABLE();

  /* DMA interrupt init */
  /* DMA1_Channel6_IRQn interrupt configuration */
  HAL_NVIC_SetPriority(DMA1_Channel6_IRQn, 0, 0);
  HAL_NVIC_EnableIRQ(DMA1_Channel6_IRQn);

}

static void MX_GPIO_Init(void)
{
  GPIO_InitTypeDef GPIO_InitStruct = {0};

  /* GPIO Ports Clock Enable */
  __HAL_RCC_GPIOC_CLK_ENABLE();
  __HAL_RCC_GPIOH_CLK_ENABLE();
  __HAL_RCC_GPIOA_CLK_ENABLE();
  __HAL_RCC_GPIOB_CLK_ENABLE();

  /*Configure GPIO pin Output Level */
  HAL_GPIO_WritePin(LD2_GPIO_Port, LD2_Pin, GPIO_PIN_RESET);

  /*Configure GPIO pin : B1_Pin */
  GPIO_InitStruct.Pin = B1_Pin;
  GPIO_InitStruct.Mode = GPIO_MODE_IT_FALLING;
  GPIO_InitStruct.Pull = GPIO_NOPULL;
  HAL_GPIO_Init(B1_GPIO_Port, &GPIO_InitStruct);

  /*Configure GPIO pin : LD2_Pin */
  GPIO_InitStruct.Pin = LD2_Pin;
  GPIO_InitStruct.Mode = GPIO_MODE_OUTPUT_PP;
  GPIO_InitStruct.Pull = GPIO_NOPULL;
  GPIO_InitStruct.Speed = GPIO_SPEED_FREQ_LOW;
  HAL_GPIO_Init(LD2_GPIO_Port, &GPIO_InitStruct);

}

/* USER CODE BEGIN 4 */

// Redireccion de printf para evitar errores en Build

int __io_putchar(int ch)
{
    HAL_UART_Transmit(&huart2, (uint8_t *)&ch, 1, HAL_MAX_DELAY);
    return ch;
}

int _write(int file, char *ptr, int len)
{
    HAL_UART_Transmit(&huart2, (uint8_t *)ptr, len, HAL_MAX_DELAY);
    return len;
}

// Stubs para que el linker deje de llorar
int _close(int file) { return -1; }
int _fstat(int file, void *st) { return 0; }
int _isatty(int file) { return 1; }
int _lseek(int file, int ptr, int dir) { return 0; }
int _read(int file, char *ptr, int len) { return 0; }
int _kill(int pid, int sig) { return -1; }
int _getpid(void) { return 1; }

/* USER CODE END 4 */

void Error_Handler(void)
{
  __disable_irq();
  while (1)
  {
  }
}
